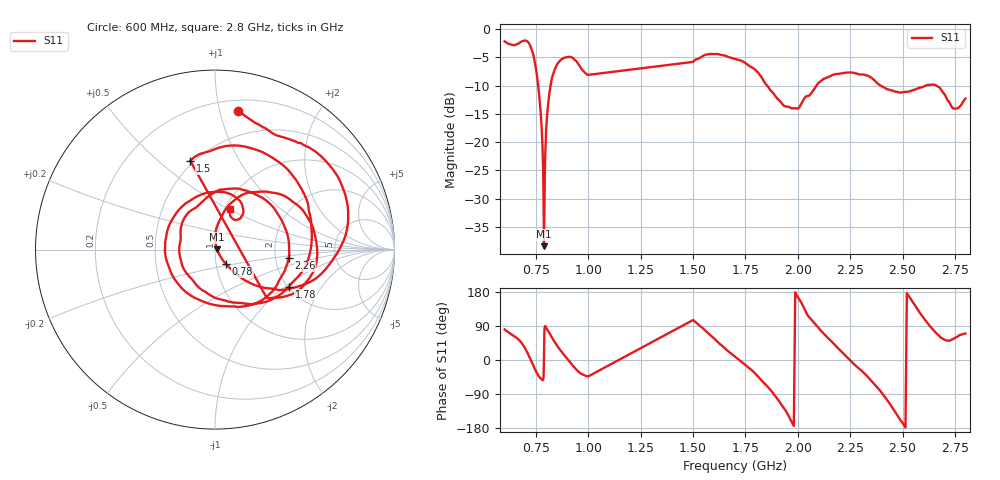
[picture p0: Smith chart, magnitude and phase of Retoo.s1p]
!File created by NanoVNA
# Hz S RI R 50
!LO
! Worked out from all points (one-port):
!   402 points, 600 MHz to 2.8 GHz, reference 50 ohm
!   lowest |S11| = -38.4 dB at 788 MHz (marker M1), VSWR 1.02, Z = 51.2 + j0.139 ohm
!   |S11| at or under -10 dB: 1.854 GHz to 2.089 GHz (235 MHz wide, 11.9 % of centre); 2.397 GHz to 2.61 GHz (213.6 MHz wide, 8.53 % of centre); 2.662 GHz to end of sweep (the widest 3 of 4)
!   S11 on the Smith chart (normalised r, x): 600 MHz: 0.29, +1.14; 780 MHz: 1.12, -0.18; 1.5 GHz: 0.48, +0.64; 1.78 GHz: 2.03, -1.06; 2.26 GHz: 2.37, -0.27; 2.8 GHz: 1.05, +0.51
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6e8  0.1265 0.7702
6.8e8  0.5412 0.5587
7.14e8  0.7425 0.1771
7.46e8  0.4418 -0.2117
7.8e8  0.0613 -0.0806
7.88e8  0.0119 0.00136
8e8  0.0168 0.1441
8.14e8  0.0879 0.2581
8.76e8  0.5188 0.1749
9.42e8  0.4744 -0.2205
9.86e8  0.3065 -0.2701
9.96e8  0.29 -0.2686
1e9  0.2884 -0.2692
1.5e9  -0.138 0.495
1.513e9  -0.0832 0.5334
1.5585e9  0.1281 0.5798
1.7015e9  0.5395 0.0805
1.7795e9  0.412 -0.2061
1.8705e9  0.0505 -0.2818
1.981e9  -0.1985 -0.0204
2.111e9  0.0793 0.3392
2.254e9  0.4139 -0.0227
2.2605e9  0.4104 -0.0477
2.397e9  0.034 -0.3141
2.527e9  -0.2772 0.0436
2.6115e9  -0.0712 0.3089
2.683e9  0.151 0.2515
2.8e9  0.083 0.2286
